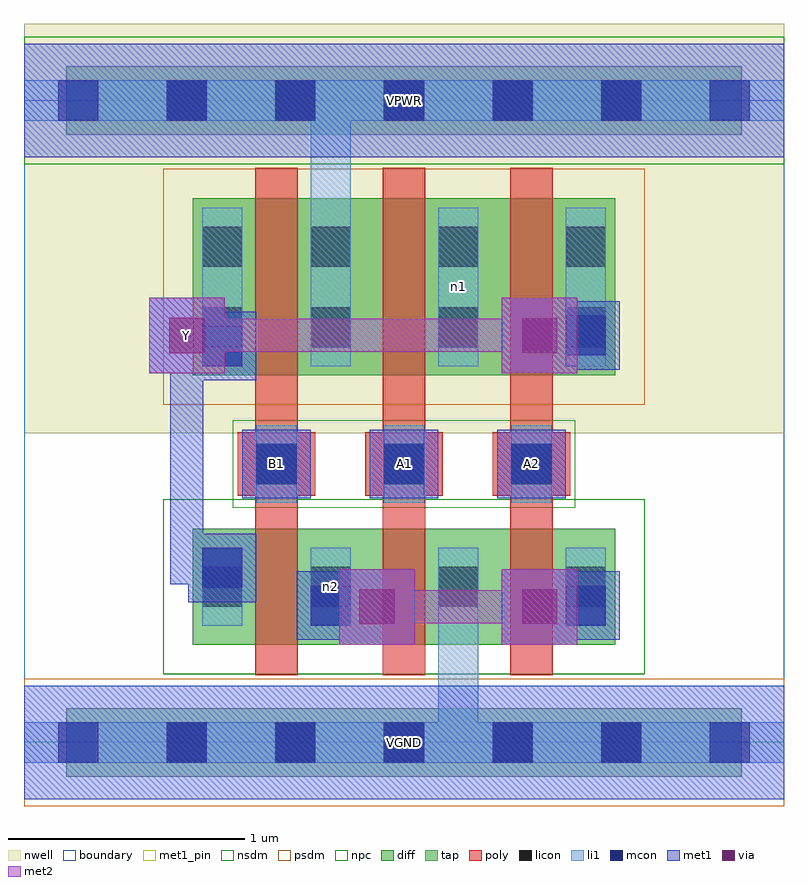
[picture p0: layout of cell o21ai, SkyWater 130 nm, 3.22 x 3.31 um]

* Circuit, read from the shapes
.subckt o21ai A1 A2 B1 VGND VPWR Y n1 n2
XM1 n2 B1 Y VGND sky130_fd_pr__nfet_01v8 w=0.49 l=0.18
XM2 VGND A1 n2 VGND sky130_fd_pr__nfet_01v8 w=0.49 l=0.18
XM3 n2 A2 VGND VGND sky130_fd_pr__nfet_01v8 w=0.49 l=0.18
XM4 VPWR B1 Y VPWR sky130_fd_pr__pfet_01v8 w=0.75 l=0.18
XM5 n1 A1 VPWR VPWR sky130_fd_pr__pfet_01v8 w=0.75 l=0.18
XM6 Y A2 n1 VPWR sky130_fd_pr__pfet_01v8 w=0.75 l=0.18
.ends

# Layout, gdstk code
import gdstk
lib = gdstk.Library(unit=1e-6, precision=1e-09)
def R(c, l, rs):  # rectangles x0, y0, x1, y1
    for r in rs: c.add(gdstk.rectangle(r[:2], r[2:], *l))
def A(c, l, x, y, w, h, nx, ny, dx, dy):  # array of equal rectangles
    R(c, l, [(x+i*dx, y+j*dy, x+i*dx+w, y+j*dy+h) for i in range(nx) for j in range(ny)])
nwell = (64, 20)
diff = (65, 20)
tap = (65, 44)
poly = (66, 20)
licon = (66, 44)
li1 = (67, 20)
mcon = (67, 44)
met1_pin = (68, 16)
met1 = (68, 20)
via = (68, 44)
met2 = (69, 20)
nsdm = (93, 44)
psdm = (94, 20)
npc = (95, 20)
boundary = (235, 4)

o21ai = lib.new_cell('o21ai')
R(o21ai, nwell, [(0,1.31,3.22,3.045)])
R(o21ai, diff, [(0.715,0.415,2.505,0.905), (0.715,1.555,2.505,2.305)])
R(o21ai, tap, [(0.18,-0.145,3.04,0.145), (0.18,2.575,3.04,2.865)])
A(o21ai, poly, 0.98, 0.285, 0.18, 2.15, 3, 1, 0.54, 0)
A(o21ai, poly, 0.905, 1.045, 0.33, 0.27, 3, 1, 0.54, 0)
A(o21ai, licon, 0.605, -0.085, 0.17, 0.17, 5, 2, 0.46, 2.72)
A(o21ai, licon, 1.215, 0.575, 0.17, 0.17, 3, 2, 0.54, 1.1)
A(o21ai, licon, 0.985, 1.095, 0.17, 0.17, 3, 1, 0.54, 0)
A(o21ai, licon, 1.215, 2.015, 0.17, 0.17, 3, 1, 0.54, 0)
R(o21ai, licon, [(0.755,0.575,0.925,0.745), (0.755,1.675,0.925,1.845), (0.755,2.015,0.925,2.185)])
A(o21ai, li1, 1.215, 0.495, 0.17, 0.33, 3, 1, 0.54, 0)
A(o21ai, li1, 0.985, 1.015, 0.17, 0.33, 3, 1, 0.54, 0)
A(o21ai, li1, 1.215, 1.595, 0.17, 0.67, 3, 1, 0.54, 0)
R(o21ai, li1, [(0,-0.085,3.22,0.085), (1.755,-0.085,1.925,0.825), (0.755,0.495,0.925,0.825), (0.755,1.595,0.925,2.265), (1.215,1.595,1.385,2.805), (0,2.635,3.22,2.805)])
A(o21ai, mcon, 0.145, -0.085, 0.17, 0.17, 7, 2, 0.46, 2.72)
A(o21ai, mcon, 0.985, 1.095, 0.17, 0.17, 3, 1, 0.54, 0)
R(o21ai, mcon, [(1.215,0.495,1.385,0.665), (2.295,0.495,2.465,0.665), (0.755,0.655,0.925,0.825), (0.755,1.595,0.925,1.765), (2.295,1.64,2.465,1.81)])
A(o21ai, met1_pin, 0.925, 1.035, 0.29, 0.29, 3, 1, 0.54, 0)
R(o21ai, met1_pin, [(0,-0.24,3.22,0.24), (0.53,1.565,0.85,1.885), (0,2.48,3.22,2.96)])
A(o21ai, met1, 0.925, 1.035, 0.29, 0.29, 3, 1, 0.54, 0)
R(o21ai, met1, [(0,-0.24,3.22,0.24), (1.335,0.415,1.655,0.735), (2.025,0.415,2.345,0.735), (1.155,0.435,1.445,0.725), (2.235,0.435,2.525,0.725), (1.425,0.505,1.565,0.65), (2.115,0.505,2.255,0.65), (1.23,0.51,1.565,0.65), (2.115,0.51,2.45,0.65), (0.695,0.595,0.985,0.885), (0.62,0.67,0.91,0.81), (0.62,0.67,0.76,0.99), (0.62,0.85,0.76,1.565), (0.62,1.425,0.76,1.75), (0.62,1.425,0.76,1.795), (0.695,1.535,0.985,1.825), (0.53,1.565,0.85,1.885), (2.025,1.565,2.345,1.885), (2.235,1.58,2.525,1.87), (0.62,1.61,0.91,1.75), (2.115,1.655,2.45,1.795), (0,2.48,3.22,2.96)])
R(o21ai, via, [(1.42,0.5,1.57,0.65), (2.11,0.5,2.26,0.65), (0.615,1.65,0.765,1.8), (2.11,1.65,2.26,1.8)])
R(o21ai, met2, [(1.335,0.415,1.655,0.735), (2.025,0.415,2.345,0.735), (1.425,0.505,2.255,0.645), (0.53,1.565,0.85,1.885), (2.025,1.565,2.345,1.885), (0.62,1.655,2.255,1.795)])
R(o21ai, nsdm, [(0.59,0.29,2.63,1.03), (0,2.45,3.22,2.99)])
R(o21ai, psdm, [(0,-0.27,3.22,0.27), (0.59,1.43,2.63,2.43)])
R(o21ai, npc, [(0.885,0.995,2.335,1.365)])
R(o21ai, boundary, [(0,0,3.22,2.72)])
o21ai.add(gdstk.Label('n1', (1.84,1.93), layer=67, texttype=5))
o21ai.add(gdstk.Label('n2', (1.3,0.66), layer=67, texttype=5))
o21ai.add(gdstk.Label('A1', (1.61,1.18), layer=68, texttype=5))
o21ai.add(gdstk.Label('A2', (2.15,1.18), layer=68, texttype=5))
o21ai.add(gdstk.Label('B1', (1.07,1.18), layer=68, texttype=5))
o21ai.add(gdstk.Label('Y', (0.69,1.725), layer=68, texttype=5))
o21ai.add(gdstk.Label('VPWR', (1.61,2.72), layer=68, texttype=5))
o21ai.add(gdstk.Label('VGND', (1.61,0), layer=68, texttype=5))
o21ai.add(gdstk.Label('A1', (1.61,1.18), layer=68, texttype=16))
o21ai.add(gdstk.Label('A2', (2.15,1.18), layer=68, texttype=16))
o21ai.add(gdstk.Label('B1', (1.07,1.18), layer=68, texttype=16))
o21ai.add(gdstk.Label('Y', (0.69,1.725), layer=68, texttype=16))
o21ai.add(gdstk.Label('VPWR', (1.61,2.72), layer=68, texttype=16))
o21ai.add(gdstk.Label('VGND', (1.61,0), layer=68, texttype=16))

lib.write_gds('o21ai.gds')
